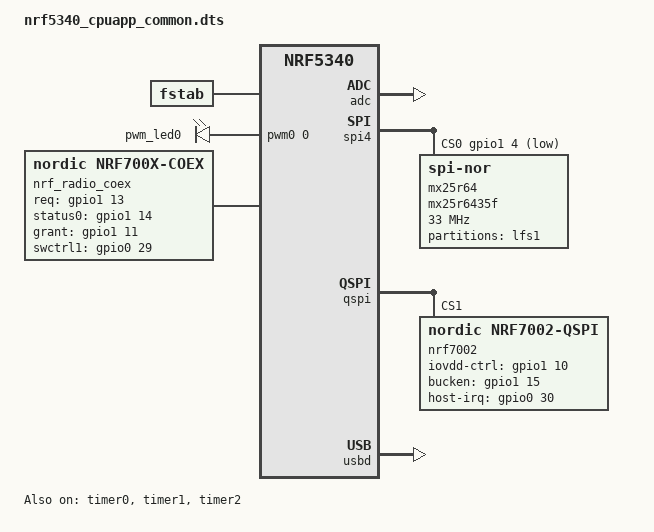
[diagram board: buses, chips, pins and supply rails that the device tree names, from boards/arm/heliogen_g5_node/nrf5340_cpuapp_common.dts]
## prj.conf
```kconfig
CONFIG_IPC_SERVICE=y
CONFIG_IPC_SERVICE_BACKEND_ICMSG=y
CONFIG_MBOX=y
CONFIG_MBOX_NRFX_IPC=y

CONFIG_LOG=y
CONFIG_USE_SEGGER_RTT=y
CONFIG_LOG_BACKEND_RTT=y
CONFIG_RTT_CONSOLE=y

CONFIG_ESB=y

CONFIG_MAIN_STACK_SIZE=2048
CONFIG_SYSTEM_WORKQUEUE_STACK_SIZE=2048

CONFIG_HEAP_MEM_POOL_SIZE=2048

# # Enable Partition Manager + flash map when this application is built as a
# # CPUNET child image in the multi-image (MCUboot) build.
# CONFIG_PARTITION_MANAGER_ENABLED=y
CONFIG_FLASH=y
CONFIG_FLASH_MAP=y

CONFIG_SECURE_BOOT=y
# CONFIG_PCD_NET=y
```

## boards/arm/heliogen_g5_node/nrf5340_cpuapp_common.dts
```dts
/*
 * Copyright (c) 2022 Nordic Semiconductor ASA
 *
 * SPDX-License-Identifier: LicenseRef-Nordic-5-Clause
 */
#include "nrf5340_cpuapp_common-pinctrl.dtsi"

/ {
	fstab {
		compatible = "zephyr,fstab";
		lfs1: lfs1 {
			compatible = "zephyr,fstab,littlefs";
			mount-point = "/lfs1";
			partition = <&lfs1_part>;
			automount;
			read-size = <16>;
			prog-size = <16>;
			cache-size = <64>;
			lookahead-size = <32>;
			block-cycles = <512>;
		};
	};

	chosen {
		zephyr,bt-hci-ipc = &ipc0;
	};
	
	/* 
	chosen {
		zephyr,console = &cdc_acm_uart0;
		zephyr,shell-uart = &cdc_acm_uart0;
		zephyr,uart-mcumgr = &cdc_acm_uart0;
		zephyr,bt-mon-uart = &cdc_acm_uart0;
		zephyr,bt-c2h-uart = &cdc_acm_uart0;
		zephyr,bt-hci-rpmsg-ipc = &ipc0;
	};
	*/
	/*
	leds {
		compatible = "gpio-leds";
		led0: led_0 {
			gpios = <&gpio1 6 GPIO_ACTIVE_HIGH>;
			label = "Green LED 0";
		};
		led1: led_1 {
			gpios = <&gpio1 7 GPIO_ACTIVE_HIGH>;
			label = "Green LED 1";
		};
	};
	*/
	pwmleds {
		compatible = "pwm-leds";
		pwm_led0: pwm_led_0 {
			pwms = <&pwm0 0 PWM_MSEC(20) PWM_POLARITY_NORMAL>;
		};
	};
	/*
	buttons {
		compatible = "gpio-keys";
		button0: button_0 {
			gpios = <&gpio1 8 (GPIO_PULL_UP | GPIO_ACTIVE_LOW)>;
			label = "Push button 1";
		};
		button1: button_1 {
			gpios = <&gpio1 9 (GPIO_PULL_UP | GPIO_ACTIVE_LOW)>;
			label = "Push button 2";
		};
	};
	*/
	/*
	gpio_fwd: nrf-gpio-forwarder {
		compatible = "nordic,nrf-gpio-forwarder";
		status = "okay";
		uart {
			gpios = <&gpio1 1 0>, <&gpio1 0 0>, <&gpio1 5 0>, <&gpio1 4 0>;
		};
	};
	*/

	nordic_wlan0: nordic_wlan0 {
		compatible = "nordic,wlan0";
		status = "okay";
	};
	
	nrf_radio_coex: nrf7002-coex {
		status = "okay";
		compatible = "nordic,nrf700x-coex";
		req-gpios = <&gpio1 13 GPIO_ACTIVE_HIGH>;
		status0-gpios = <&gpio1 14 GPIO_ACTIVE_HIGH>;
		grant-gpios = <&gpio1 11 GPIO_ACTIVE_HIGH>;
		swctrl1-gpios = <&gpio0 29 GPIO_ACTIVE_HIGH>;
	};

	/* These aliases are provided for compatibility with samples */
	aliases {
		led0 = &led0;
		pwm-led0 = &pwm_led0;
		bootloader-led0 = &led0;
		mcuboot-led0 = &led0;
	};
};

&adc {
	status = "okay";
};

&gpiote {
	status = "okay";
};

&gpio0 {
	status = "okay";
};

&gpio1 {
	status = "okay";
};

&spi4 {
	compatible = "nordic,nrf-spim";
	status = "okay";
	pinctrl-0 = <&spi4_default>;
	pinctrl-1 = <&spi4_sleep>;
	pinctrl-names = "default", "sleep";
	cs-gpios = <&gpio1 4 GPIO_ACTIVE_LOW>;

	mx25r64: mx25r6435f@0 {
		compatible = "jedec,spi-nor";
		reg = <0>;
		spi-max-frequency = <33000000>;
		jedec-id = [c2 28 17];
		sfdp-bfp = [
			e5 20 f1 ff ff ff ff 03 44 eb 08 6b 08 3b 04 bb
			ee ff ff ff ff ff 00 ff ff ff 00 ff 0c 20 0f 52
			10 d8 00 ff 23 72 f5 00 82 ed 04 cc 44 83 68 44
			30 b0 30 b0 f7 c4 d5 5c 00 be 29 ff f0 d0 ff ff
		];
		size = <67108864>;
		has-dpd;
		t-enter-dpd = <10000>;
		t-exit-dpd = <5000>;

		partitions{
			compatible = "fixed-partitions";
			#address-cells = <1>;
			#size-cells = <1>;
			lfs1_part: partition@0 {
				label = "lfs1";
				reg = <0x00000000 0x00040000>;
			};
		};

	};
};

&qspi {
	status = "okay";

	pinctrl-0 = <&qspi_default>;
	pinctrl-1 = <&qspi_sleep>;
	pinctrl-names = "default", "sleep";
	nrf7002: nrf7002@1 {
		status = "okay";
		compatible = "nordic,nrf7002-qspi";
		reg = <1>;
		sck-frequency = <24000000>;
		quad-mode;
		/* Wi-Fi Pins used */
		iovdd-ctrl-gpios = <&gpio1 10 GPIO_ACTIVE_HIGH>;
		bucken-gpios = <&gpio1 15 GPIO_ACTIVE_HIGH>;
		host-irq-gpios = <&gpio0 30 GPIO_ACTIVE_HIGH>;

	};
};

&timer0 {
	status = "okay";
};

&timer1 {
	status = "okay";
};

&timer2 {
	status = "okay";
};


&flash0 {

	partitions {
		compatible = "fixed-partitions";
		#address-cells = <1>;
		#size-cells = <1>;

		boot_partition: partition@0 {
			label = "mcuboot";
			reg = <0x00000000 0x00010000>;
		};
		slot0_partition: partition@10000 {
			label = "image-0";
		};
		slot0_ns_partition: partition@50000 {
			label = "image-0-nonsecure";
		};
		slot1_partition: partition@80000 {
			label = "image-1";
		};
		slot1_ns_partition: partition@c0000 {
			label = "image-1-nonsecure";
		};
		scratch_partition: partition@f0000 {
			label = "image-scratch";
			reg = <0x000f0000 0xa000>;
		};
		storage_partition: partition@fa000 {
			label = "storage";
			reg = <0x000fa000 0x00006000>;
		};
	};
};

zephyr_udc0: &usbd {
	compatible = "nordic,nrf-usbd";
	status = "okay";
};

/ {

	reserved-memory {
		#address-cells = <1>;
		#size-cells = <1>;
		ranges;

		sram0_image: image@20000000 {
			/* Zephyr image(s) memory */
		};

		sram0_s: image_s@20000000 {
			/* Secure image memory */
		};

		sram0_ns: image_ns@20040000 {
			/* Non-Secure image memory */
		};
	};
};

/*
 * Extra IPC channel for custom APP<->NET communication (ICMsg backend).
 *
 * This instance is independent of the default OpenAMP/static-vrings instance
 * (ipc0) that is commonly used for Bluetooth HCI IPC / nRF RPC.
 *
 * We use MBOX channels 2/3 (0/1 are typically used by the default OpenAMP
 * instance).
 */
/ {
	ipc_icmsg0: ipc_icmsg0 {
		compatible = "zephyr,ipc-icmsg";
		tx-region = <&sram0_icmsg_tx>;
		rx-region = <&sram0_icmsg_rx>;
		mboxes = <&mbox 2>, <&mbox 3>;
		mbox-names = "tx", "rx";
		status = "okay";
	};
};

/* Include partition configuration file */
#include "nrf5340_cpuapp_partition_conf.dts"
```

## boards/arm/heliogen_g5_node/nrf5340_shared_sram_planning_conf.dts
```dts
/*
 * Copyright (c) 2022 Nordic Semiconductor ASA
 *
 * SPDX-License-Identifier: LicenseRef-Nordic-5-Clause
 */

/* Default shared SRAM planning when building for nRF5340.
 * This file is included by both nRF5340 CPUAPP (Application MCU)
 * and nRF5340 CPUNET (Network MCU).
 * - 64 kB SRAM allocated as Shared memory (sram0_shared)
 * - Region defined after the image SRAM of Application MCU
 */

/ {
	chosen {
		/* shared memory reserved for the inter-processor communication */
		zephyr,ipc_shm = &sram0_shared;
	};

	reserved-memory {
		#address-cells = <1>;
		#size-cells = <1>;
		ranges;

		/*
		 * nRF5340 shared SRAM planning
		 *
		 * 0x20070000..0x2007FFFF is the CPUAPP SRAM window that is accessible by
		 * both cores.
		 *
		 * The stock Zephyr/NCS configuration typically uses the whole 64 KiB as a
		 * single shared region (sram0_shared) for OpenAMP/static-vrings and
		 * Bluetooth HCI IPC.
		 *
		 * For custom inter-core messaging (ICMsg backend) we carve out a small
		 * slice at the *top* of the shared SRAM window and leave the remainder as
		 * sram0_shared so existing OpenAMP users can still work (as long as the
		 * reduced size is sufficient for their configuration).
		 */
		sram0_shared: memory@20070000 {
			/* SRAM allocated to shared memory for OpenAMP/static-vrings */
			// reg = <0x20070000 0x0E000>; /* 56 KiB */
			reg = <0x20070000 0x0E800>; /* 58 KiB */
		};

		// /* Dedicated shared SRAM regions for ICMsg (2 x 4 KiB) */
		// sram0_icmsg_tx: memory@2007e000 {
		// 	reg = <0x2007E000 0x1000>;
		// };
		// sram0_icmsg_rx: memory@2007f000 {
		// 	reg = <0x2007F000 0x1000>;
		// };

		/* Dedicated shared SRAM regions for ICMsg (2 x 3 KiB) */
		sram0_icmsg_tx: memory@2007e000 {
			reg = <0x2007E000 0xC00>;
		};
		sram0_icmsg_rx: memory@2007f000 {
			reg = <0x2007F000 0xC00>;
		};
};
```

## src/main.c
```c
/*
 * Copyright (c) 2025 Nordic Semiconductor ASA
 *
 * SPDX-License-Identifier: LicenseRef-Nordic-5-Clause
 */

 /*
 * CLUSTER HEAD NET CORE FIRMWARE
 * Date: 03-08-2026
 */

#include <zephyr/kernel.h>
#include <zephyr/device.h>
#include <zephyr/devicetree.h>
#include <zephyr/drivers/clock_control.h>
#include <zephyr/drivers/clock_control/nrf_clock_control.h>
#include <zephyr/logging/log.h>
#include <zephyr/ipc/ipc_service.h>
#include <nrf.h>
#include <esb.h>

// LOG_MODULE_REGISTER(esb_netcore, LOG_LEVEL_INF); 
LOG_MODULE_REGISTER(esb_netcore, LOG_LEVEL_NONE);

/* IPC Message Types */
#define ESB_IPC_MSG_TYPE_TX      0x01
#define ESB_IPC_MSG_TYPE_RX      0x02
#define ESB_IPC_MSG_TYPE_STATUS  0x03
#define ESB_IPC_MSG_TYPE_NODE_ID 0x03 /* Match APP core type */

/* Message queue to pass RX data from ISR to work queue */
#define RX_MSGQ_MAX_ITEMS 4
K_MSGQ_DEFINE(esb_rx_msgq, sizeof(struct esb_payload), RX_MSGQ_MAX_ITEMS, 4);

/* User work queue for IPC communication (runs in proper thread context) */
#define IPC_WORK_QUEUE_STACK_SIZE 2048
#define IPC_WORK_QUEUE_PRIORITY 5

#define CHANNEL_CH_A_3 3
#define CHANNEL_CH_B_7 7
#define CHANNEL_CH_C_9 9
#define CHANNEL_CH_D_72 72
#define CHANNEL_CH_E_77 77

K_THREAD_STACK_DEFINE(ipc_work_queue_stack, IPC_WORK_QUEUE_STACK_SIZE);
static struct k_work_q ipc_work_queue;
static struct k_work esb_rx_work;

/* ESB IPC Message structure */
struct esb_ipc_msg {
	uint8_t type;
	uint8_t length;
	uint8_t data[32];
} __packed;

/* IPC instance */
static struct ipc_ept ep;
static struct ipc_ept_cfg ep_cfg;

/* Synchronization */
static K_SEM_DEFINE(ipc_bound_sem, 0, 1);

/* Store Received Node ID */
static char remote_node_id[33];
static K_SEM_DEFINE(node_id_sem, 0, 1);

/* ESB state */
static struct esb_payload tx_payload;
static struct esb_payload rx_payload;

/* Forward declarations */
static int esb_radio_init(void);
static int clocks_start(void);

/* Work handler for ESB RX data to be sent via IPC */
static void esb_rx_work_handler(struct k_work *work)
{
	struct esb_payload rx_data;
	struct esb_ipc_msg ipc_msg;

	while (k_msgq_get(&esb_rx_msgq, &rx_data, K_NO_WAIT) == 0) {
		LOG_INF("ESB RX: Received %d bytes on pipe %d: "
			"0x%02x 0x%02x 0x%02x 0x%02x "
			"0x%02x 0x%02x 0x%02x 0x%02x",
			rx_data.length, rx_data.pipe,
			rx_data.data[0], rx_data.data[1],
			rx_data.data[2], rx_data.data[3],
			rx_data.data[4], rx_data.data[5],
			rx_data.data[6], rx_data.data[7]);

		/* Send to app core via IPC */
		ipc_msg.type = ESB_IPC_MSG_TYPE_RX;
		ipc_msg.length = rx_data.length;
		memcpy(ipc_msg.data, rx_data.data, rx_data.length);

		LOG_INF("IPC MSG: type=0x%02x, len=%d", ipc_msg.type, ipc_msg.length);

		int ret = ipc_service_send(&ep, &ipc_msg,
					   sizeof(ipc_msg.type) +
					   sizeof(ipc_msg.length) +
					   rx_data.length);
		if (ret < 0) {
			LOG_ERR("Failed to send RX data via IPC: %d", ret);
		}
	}
}

/* ESB Event Handler */
void esb_evt_handler(struct esb_evt const *event)
{
	switch (event->evt_id) {
	case ESB_EVENT_TX_SUCCESS:
		LOG_INF("ESB TX SUCCESS: Broadcast finished");
		/* Flush RX FIFO before starting RX to remove any stale packets */
		esb_flush_rx();
		/* Switch to PRX mode to listen for responses from field nodes */
		esb_start_rx();
		break;

	case ESB_EVENT_TX_FAILED:
		LOG_ERR("ESB TX FAILED: Retrying/Opening RX anyway...");
		esb_flush_rx();
		/* Open RX window anyway so we don't miss anything */
		esb_start_rx();
		break;

	case ESB_EVENT_RX_RECEIVED:
		LOG_INF("ESB RX: Packet received on radio");
		/* Read received payload */
		if (esb_read_rx_payload(&rx_payload) == 0) {
			/* Queue for processing and submit to user work queue */
			int ret = k_msgq_put(&esb_rx_msgq, &rx_payload, K_NO_WAIT);
			if (ret < 0) {
				LOG_ERR("RX queue full, dropping packet");
			} else {
				/* Submit to user work queue (not system queue) */
				k_work_submit_to_queue(&ipc_work_queue, &esb_rx_work);
			}
		} else {
				LOG_ERR("Error reading ESB RX payload");
		}
		break;

	default:
		LOG_WRN("Unknown ESB event: %d", event->evt_id);
		break;
	}
}

/* IPC Endpoint Bound Callback */
static void ep_bound(void *priv)
{
	LOG_INF("IPC endpoint bound");
	k_sem_give(&ipc_bound_sem);
}

/* IPC Endpoint Receive Callback */
static void ep_recv(const void *data, size_t len, void *priv)
{
	const struct esb_ipc_msg *msg = (const struct esb_ipc_msg *)data;

	LOG_INF("IPC RX FROM APP: type=0x%02x, len=%d", msg->type, msg->length);

	/* Handle TX command */
	if (msg->type == ESB_IPC_MSG_TYPE_TX) {
		/* Stop RX if currently in the middle of a previous window */
		esb_stop_rx();
		/* Important: Clear any pending RX data in the queue */
		struct esb_payload junk;
		while (k_msgq_get(&esb_rx_msgq, &junk, K_NO_WAIT) == 0);

		/* Prepare ESB payload for Broadcast transmission */
		uint8_t first_byte = msg->data[0];
		/* Logic check: if first byte is 0x91, change it to 0x92 */
		if (first_byte == 0x91) {
			first_byte = 0x92;
		}

		tx_payload = (struct esb_payload)ESB_CREATE_PAYLOAD(0, first_byte);
		tx_payload.length = msg->length;
		
		/* Copy remaining data from the IPC message */
		if (msg->length > 1) {
			memcpy(&tx_payload.data[1], &msg->data[1], msg->length - 1);
		}
		tx_payload.noack = true;

		/* Flush any old TX data and write new payload */
		esb_flush_tx();
		int ret = esb_write_payload(&tx_payload);
		if (ret) {
			LOG_ERR("ESB write_payload failed: %d", ret);
		} else {
			LOG_INF("ESB: write_payload OK, waiting for TX_SUCCESS event...");
		}
	// } else if (msg->type == ESB_IPC_MSG_TYPE_STATUS) {
	// 	/* App Core signals to stop listening (e.g. 800ms window closed) */
	// 	LOG_INF("IPC: Stop RX command received");
	// 	esb_stop_rx();
	} 
	else if (msg->type == ESB_IPC_MSG_TYPE_NODE_ID) {
		uint8_t copy_len = msg->length > 32 ? 32 : msg->length;
		memcpy(remote_node_id, msg->data, copy_len);
		remote_node_id[copy_len] = '\0';
		LOG_INF("NET Core received Node ID from APP: %s", remote_node_id);
		k_sem_give(&node_id_sem);
	}
}

/* IPC Initialization */
static int ipc_init(void)
{
	int ret;
	const struct device *ipc_instance;

	LOG_INF("Initializing IPC...");

	/* Get IPC instance */
	ipc_instance = DEVICE_DT_GET(DT_NODELABEL(ipc_icmsg0));
	if (!device_is_ready(ipc_instance)) {
		LOG_ERR("IPC instance not ready");
		return -ENODEV;
	}

	/* Configure endpoint */
	ep_cfg.name = "esb_ep";
	ep_cfg.cb.bound = ep_bound;
	ep_cfg.cb.received = ep_recv;
	ep_cfg.priv = NULL;

	/* Register endpoint */
	ret = ipc_service_open_instance(ipc_instance);
	if (ret < 0 && ret != -EALREADY) {
		LOG_ERR("Failed to open IPC instance: %d", ret);
		return ret;
	}

	ret = ipc_service_register_endpoint(ipc_instance, &ep, &ep_cfg);
	if (ret < 0) {
		LOG_ERR("Failed to register IPC endpoint: %d", ret);
		return ret;
	}

	/* Initialize user work queue for IPC communication */
	k_work_queue_start(&ipc_work_queue,
			   ipc_work_queue_stack,
			   K_THREAD_STACK_SIZEOF(ipc_work_queue_stack),
			   IPC_WORK_QUEUE_PRIORITY,
			   NULL);
	k_thread_name_set(&ipc_work_queue.thread, "ipc_wq");
	
	/* Initialize work item */
	k_work_init(&esb_rx_work, esb_rx_work_handler);

	/* Wait for endpoint to be bound */
	ret = k_sem_take(&ipc_bound_sem, K_SECONDS(5));
	if (ret < 0) {
		LOG_ERR("IPC endpoint binding timeout");
		return ret;
	}

	LOG_INF("IPC initialized successfully, waiting for Node ID...");
	
	/* Wait for Node ID from App Core */
	ret = k_sem_take(&node_id_sem, K_SECONDS(2));
	if (ret < 0) {
		LOG_WRN("Timeout waiting for Node ID, proceeding with default");
	}

	return 0;
}

/* Start HF Clock */
static int clocks_start(void)
{
	int err;
	int res;
	struct onoff_manager *clk_mgr;
	struct onoff_client clk_cli;

	clk_mgr = z_nrf_clock_control_get_onoff(CLOCK_CONTROL_NRF_SUBSYS_HF);
	if (!clk_mgr) {
		LOG_ERR("Unable to get the Clock manager");
		return -ENXIO;
	}

	sys_notify_init_spinwait(&clk_cli.notify);

	err = onoff_request(clk_mgr, &clk_cli);
	if (err < 0) {
		LOG_ERR("Clock request failed: %d", err);
		return err;
	}

	do {
		err = sys_notify_fetch_result(&clk_cli.notify, &res);
		if (!err && res) {
			LOG_ERR("Clock could not be started: %d", res);
			return res;
		}
	} while (err);

	LOG_DBG("HF clock started");
	return 0;
}

/* Initialize ESB Radio */
static int esb_radio_init(void)
{
	int err;

	/* ESB addresses - must match PTX/PRX counterpart */
	uint8_t base_addr_0[4] = {0xE7, 0xE7, 0xE7, 0xE7};
	uint8_t base_addr_1[4] = {0xC2, 0xC2, 0xC2, 0xC2};
	uint8_t addr_prefix[8] = {0xE7, 0xC2, 0xC3, 0xC4, 0xC5, 0xC6, 0xC7, 0xC8};
	// uint8_t addr_prefix[8] = {0xE7, 0xC2, 0xC3, 0x00, 0x00, 0x00, 0x00, 0x00};

	struct esb_config config = ESB_DEFAULT_CONFIG;

	/* Configure ESB as PTX (Primary Transmitter) */
	config.protocol = ESB_PROTOCOL_ESB_DPL;
	// config.bitrate = ESB_BITRATE_2MBPS;
	config.bitrate = ESB_BITRATE_1MBPS;
	config.mode = ESB_MODE_PTX;  /* Default PTX mode */
	config.event_handler = esb_evt_handler;
	config.selective_auto_ack = true;
	config.retransmit_delay = 250; 
	config.retransmit_count = 0;   /* No retransmissions */

	err = esb_init(&config);
	if (err) {
		LOG_ERR("ESB init failed: %d", err);
		return err;
	}

	err = esb_set_rf_channel(CHANNEL_CH_B_7);
	if (err) {
		LOG_ERR("ESB set RF channel failed: %d", err);
		return err;
	}

	err = esb_set_base_address_0(base_addr_0);
	if (err) {
		LOG_ERR("ESB set base address 0 failed: %d", err);
		return err;
	}

	err = esb_set_base_address_1(base_addr_1);
	if (err) {
		LOG_ERR("ESB set base address 1 failed: %d", err);
		return err;
	}

	err = esb_set_prefixes(addr_prefix, ARRAY_SIZE(addr_prefix));
	if (err) {
		LOG_ERR("ESB set prefixes failed: %d", err);
		return err;
	}

	LOG_INF("ESB initialized successfully (PTX mode, 2.4GHz, 2Mbps)");
	return 0;
}

int main(void)
{
	int err;

	LOG_INF("===========================================");
	LOG_INF("ESB Radio Modem - Network Core");
	LOG_INF("2.4GHz ESB on nRF5340 Internal Radio");
	// LOG_INF("BEFORE FOTA");
	LOG_INF("===========================================");

	/* Start HF clock */
	err = clocks_start();
	if (err) {
		LOG_ERR("Failed to start clocks");
		return err;
	}

	/* Initialize IPC */
	err = ipc_init();
	if (err) {
		LOG_ERR("IPC initialization failed");
		return err;
	}

		/* Verify Node ID before proceeding */
	if (remote_node_id[0] != '\0') {
		LOG_INF("Verified Node ID: %s. Proceeding to ESB init.", remote_node_id);
	} else {
		LOG_WRN("Proceeding to ESB init without Node ID (using default/empty)");
	}

	/* Initialize ESB */
	err = esb_radio_init();
	if (err) {
		LOG_ERR("ESB initialization failed");
		return err;
	}

	/* Device starts idle in PTX mode - no call to esb_start_rx() here */

	LOG_INF("ESB Radio Modem ready - PTX Mode (Default Idle)");
	LOG_INF("Waiting for IPC commands from App Core...");

	/* Return to idle thread - ESB events handled via callbacks */
	return 0;
}
```

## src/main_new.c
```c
/*
 * Copyright (c) 2018 Nordic Semiconductor ASA
 *
 * SPDX-License-Identifier: LicenseRef-Nordic-5-Clause
 */
#include <zephyr/device.h>
#include <zephyr/devicetree.h>
#include <zephyr/drivers/clock_control.h>
#include <zephyr/drivers/clock_control/nrf_clock_control.h>
#include <zephyr/irq.h>
#include <zephyr/logging/log.h>
#include <zephyr/ipc/ipc_service.h>
#include <nrf.h>
#include <esb.h>
#include <zephyr/kernel.h>
#include <zephyr/types.h>
#include <zephyr/sys/atomic.h>
#include <zephyr/random/rand32.h>

LOG_MODULE_REGISTER(esb_netcore, LOG_LEVEL_INF);

/* IPC Message Types */
#define ESB_IPC_MSG_TYPE_TX      0x01
#define ESB_IPC_MSG_TYPE_RX      0x02
#define ESB_IPC_MSG_TYPE_STATUS  0x03

/* Message queue to pass RX data from ISR to work queue */
#define RX_MSGQ_MAX_ITEMS 4
K_MSGQ_DEFINE(esb_rx_msgq, sizeof(struct esb_payload), RX_MSGQ_MAX_ITEMS, 4);

/* User work queue for IPC communication (runs in proper thread context) */
#define IPC_WORK_QUEUE_STACK_SIZE 2048
#define IPC_WORK_QUEUE_PRIORITY 5

/* Device Identifier */
#define DEVICE_ID 0x14

K_THREAD_STACK_DEFINE(ipc_work_queue_stack, IPC_WORK_QUEUE_STACK_SIZE);
static struct k_work_q ipc_work_queue;
static struct k_work esb_rx_work;

/* ESB IPC Message structure */
struct esb_ipc_msg {
	uint8_t type;
	uint8_t length;
	uint8_t data[32];
} __packed;

/* IPC instance */
static struct ipc_ept ep;
static struct ipc_ept_cfg ep_cfg;

/* Synchronization */
static K_SEM_DEFINE(ipc_bound_sem, 0, 1);

/* ------------------------------------------------------------------ */
/*  Flags shared between ISR (event_handler) and main thread           */
/* ------------------------------------------------------------------ */
static atomic_t do_switch_to_ptx = ATOMIC_INIT(0); /* set by RX handler        */
static atomic_t do_switch_to_prx = ATOMIC_INIT(0); /* set by TX_SUCCESS handler */
static atomic_t do_retry_ptx     = ATOMIC_INIT(0); /* set by TX_FAILED handler  */

/* Tracks whether we have already done one backoff-retry for the current
 * PTX transmission. Reset on TX_SUCCESS or after giving up. */
static bool tx_retried;

/* ------------------------------------------------------------------ */
/*  PTX configuration — defaults, updated live if 0x33 found in RX    */
/* ------------------------------------------------------------------ */
static uint16_t ptx_retransmit_delay = 600;  /* us between retries   */
static uint16_t ptx_retransmit_count = 3;    /* max retry attempts   */
static int8_t   ptx_tx_output_power  = 3;    /* dBm                  */

/* Payload buffers */
static struct esb_payload rx_payload;

/* TX payload: first byte = 0x93 */
static struct esb_payload tx_payload = ESB_CREATE_PAYLOAD(0,
	0x93, 0x00, 0x00, 0x00, 0x00, 0x00, 0x00, 0x00);
/* Work handler for ESB RX data to be sent via IPC */
static void esb_rx_work_handler(struct k_work *work)
{
	struct esb_payload rx_data;
	struct esb_ipc_msg ipc_msg;

	while (k_msgq_get(&esb_rx_msgq, &rx_data, K_NO_WAIT) == 0) {
		LOG_INF("ESB RX: Received %d bytes: "
			"0x%02x 0x%02x 0x%02x 0x%02x "
			"0x%02x 0x%02x 0x%02x 0x%02x",
			rx_data.length,
			rx_data.data[0], rx_data.data[1],
			rx_data.data[2], rx_data.data[3],
			rx_data.data[4], rx_data.data[5],
			rx_data.data[6], rx_data.data[7]);

		/* Send to app core via IPC */
		ipc_msg.type = ESB_IPC_MSG_TYPE_RX;
		ipc_msg.length = rx_data.length;
		memcpy(ipc_msg.data, rx_data.data, rx_data.length);

		int ret = ipc_service_send(&ep, &ipc_msg,
					   sizeof(ipc_msg.type) +
					   sizeof(ipc_msg.length) +
					   rx_data.length);
		if (ret < 0) {
			LOG_ERR("Failed to send RX data via IPC: %d", ret);
		}
	}
}

/* IPC Endpoint Bound Callback */
static void ep_bound(void *priv)
{
	LOG_INF("IPC endpoint bound");
	k_sem_give(&ipc_bound_sem);
}


/* ------------------------------------------------------------------ */
/*  ESB event handler  (runs in radio IRQ context)                     */
/* ------------------------------------------------------------------ */
void event_handler(struct esb_evt const *event)
{
	switch (event->evt_id) {

	case ESB_EVENT_RX_RECEIVED:
		if (esb_read_rx_payload(&rx_payload) == 0) {
			LOG_INF("RX: len=%d [0x%02x 0x%02x 0x%02x 0x%02x 0x%02x 0x%02x 0x%02x 0x%02x]",
				rx_payload.length,
				rx_payload.data[0], rx_payload.data[1],
				rx_payload.data[2], rx_payload.data[3],
				rx_payload.data[4], rx_payload.data[5],
				rx_payload.data[6], rx_payload.data[7]);

			/* If first byte is 0x92 -> request a PTX switch */
			if (rx_payload.data[0] == 0x92) {
				LOG_INF("Trigger byte 0x92 received -> scheduling PTX switch");
				/* Mirror the received second byte in our response */
				tx_payload.data[1] = rx_payload.data[1]; // response to packet request
				tx_payload.data[2] = DEVICE_ID;          // identify this device in the response
				atomic_set(&do_switch_to_ptx, 1);
			}

			/* Scan every byte for 0x33 -> update PTX config */
			for (int i = 0; i < rx_payload.length; i++) {
				if (rx_payload.data[i] == 0x33) {
					LOG_INF("0x33 found at byte[%d] -> updating PTX config: "
						"retransmit_delay=1000, retransmit_count=5, "
						"tx_output_power=0", i);
					ptx_retransmit_delay = 1000;
					ptx_retransmit_count = 5;
					ptx_tx_output_power  = 0;
					break;
				}
			}
		} else {
			LOG_ERR("Error reading rx payload");
		}
		break;

	case ESB_EVENT_TX_SUCCESS:
		LOG_INF("TX SUCCESS (attempts: %d) -> scheduling PRX switch",
			event->tx_attempts);
		tx_retried = false; /* reset for next PTX cycle */
		atomic_set(&do_switch_to_prx, 1);
		break;

	case ESB_EVENT_TX_FAILED:
		if (!tx_retried) {
			/* First failure: log the config we failed with, then apply
			 * backoff and schedule a retry with the new config. */
			LOG_WRN("TX FAILED (attempts: %d) with delay=%u count=%u pwr=%d"
				" -> applying backoff and retrying",
				event->tx_attempts,
				ptx_retransmit_delay, ptx_retransmit_count,
				ptx_tx_output_power);
			// ptx_retransmit_delay += (uint16_t)(sys_rand32_get() % 501); // Ring 1
			// ptx_retransmit_delay += (uint16_t)(500 + sys_rand32_get() % 501); // Ring 2
			// ptx_retransmit_delay += (uint16_t)(1000 + sys_rand32_get() % 501); // Ring 3
			/* NOTE: sys_rand32_get() uses a semaphore and is ISR-unsafe.
			 * The actual delay update happens in the main thread below. */
			ptx_retransmit_count += 5;
			ptx_tx_output_power   = 3;
			tx_retried = true;
			atomic_set(&do_retry_ptx, 1);
		} else {
			/* Second consecutive failure even after backoff -> give up,
			 * switch back to PRX. */
			LOG_WRN("TX FAILED again after backoff (attempts: %d) "
				"-> switching to PRX", event->tx_attempts);
			tx_retried = false; /* reset for next PTX cycle */
			atomic_set(&do_switch_to_prx, 1);
		}
		break;
	}
}

/* ------------------------------------------------------------------ */
/*  Clock                                                               */
/* ------------------------------------------------------------------ */
static int clocks_start(void)
{
	int err, res;
	struct onoff_manager *clk_mgr;
	struct onoff_client clk_cli;

	clk_mgr = z_nrf_clock_control_get_onoff(CLOCK_CONTROL_NRF_SUBSYS_HF);
	if (!clk_mgr) {
		LOG_ERR("Unable to get the Clock manager");
		return -ENXIO;
	}

	sys_notify_init_spinwait(&clk_cli.notify);

	err = onoff_request(clk_mgr, &clk_cli);
	if (err < 0) {
		LOG_ERR("Clock request failed: %d", err);
		return err;
	}

	do {
		err = sys_notify_fetch_result(&clk_cli.notify, &res);
		if (!err && res) {
			LOG_ERR("Clock could not be started: %d", res);
			return res;
		}
	} while (err);

	LOG_DBG("HF clock started");
	return 0;
}

/* ------------------------------------------------------------------ */
/*  ESB initializers                                                    */
/* ------------------------------------------------------------------ */
static const uint8_t base_addr_0[4]  = {0xE7, 0xE7, 0xE7, 0xE7};
static const uint8_t base_addr_1[4]  = {0xC2, 0xC2, 0xC2, 0xC2};
static const uint8_t addr_prefix[8]  = {0xE6, 0xC2, 0xC3, 0xC4,
					 0xC5, 0xC6, 0xC7, 0xC8};

static int esb_prx_initialize(void)
{
	int err;
	struct esb_config config = ESB_DEFAULT_CONFIG;

	config.protocol          = ESB_PROTOCOL_ESB_DPL;
	config.bitrate           = ESB_BITRATE_2MBPS;
	config.mode              = ESB_MODE_PRX;
	config.event_handler     = event_handler;
	config.selective_auto_ack = true;

	err = esb_init(&config);                              if (err) return err;
	err = esb_set_base_address_0(base_addr_0);            if (err) return err;
	err = esb_set_base_address_1(base_addr_1);            if (err) return err;
	err = esb_set_prefixes(addr_prefix, ARRAY_SIZE(addr_prefix));
	return err;
}

static int esb_ptx_initialize(void)
{
	int err;
	struct esb_config config = ESB_DEFAULT_CONFIG;

	config.protocol           = ESB_PROTOCOL_ESB_DPL;
	config.bitrate            = ESB_BITRATE_2MBPS;
	config.mode               = ESB_MODE_PTX;
	config.event_handler      = event_handler;
	config.selective_auto_ack = true;
	config.retransmit_delay   = ptx_retransmit_delay;
	config.retransmit_count   = ptx_retransmit_count;
	config.tx_output_power    = ptx_tx_output_power;

	err = esb_init(&config);                              if (err) return err;
	err = esb_set_base_address_0(base_addr_0);            if (err) return err;
	err = esb_set_base_address_1(base_addr_1);            if (err) return err;
	err = esb_set_prefixes(addr_prefix, ARRAY_SIZE(addr_prefix));
	return err;
}

/* ------------------------------------------------------------------ */
/*  Role-switch helpers  (call only from main thread, NOT from ISR)    */
/* ------------------------------------------------------------------ */
static int enter_prx(void)
{
	int err;
	uint32_t t0 = k_cycle_get_32();

	/* Cleanly stop the radio before disabling ESB.
	 * esb_disable() alone does NOT stop the radio hardware — it only
	 * disables PPI and IRQs, leaving the radio peripheral running.
	 * esb_stop_rx() issues TASKS_DISABLE and waits for the radio to halt.
	 */
	(void)esb_stop_rx(); /* ignore -EINVAL if not currently in RX state */
	esb_disable();

	err = esb_prx_initialize();
	if (err) { LOG_ERR("PRX init failed: %d", err); return err; }

	err = esb_start_rx();
	if (err) { LOG_ERR("esb_start_rx failed: %d", err); return err; }

	uint32_t us = k_cyc_to_us_near32(k_cycle_get_32() - t0);
	LOG_INF("[TIMING] PRX active: %u us after switch command", us);
	return 0;
}

static int enter_ptx(void)
{
	int err;
	uint32_t t0 = k_cycle_get_32();

	/* Cleanly stop the radio before disabling ESB.
	 * After a PRX receives a packet, the radio continues cycling
	 * (RX -> ACK-TX -> RX) autonomously via hardware SHORTs.
	 * esb_disable() alone does NOT stop this — the radio peripheral
	 * keeps running without an ISR. When esb_ptx_initialize() then
	 * starts the TX state machine, the radio is in an unknown state
	 * and the TX event never fires.
	 * esb_stop_rx() issues TASKS_DISABLE and waits for the radio to halt.
	 */
	(void)esb_stop_rx(); /* ignore -EINVAL if not currently in RX state */
	esb_disable();

	err = esb_ptx_initialize();
	if (err) { LOG_ERR("PTX init failed: %d", err); return err; }

	/* esb_write_payload() in PTX mode auto-starts TX — do NOT call esb_start_tx() */
	err = esb_write_payload(&tx_payload);
	if (err) {
		LOG_ERR("Payload write failed: %d", err);
		if (err == -ENOMEM) { esb_flush_tx(); }
		return err;
	}

	uint32_t us = k_cyc_to_us_near32(k_cycle_get_32() - t0);
	LOG_INF("[TIMING] PTX active + packet queued: %u us after switch command", us);
	return 0;
}

/* ------------------------------------------------------------------ */
/*  Main                                                                */
/* ------------------------------------------------------------------ */
int main(void)
{
	int err;

	LOG_INF("ESB configurable sample - default role: PRX");

	err = clocks_start();
	if (err) { return 0; }

	/* Start in PRX (default) */
	err = esb_prx_initialize();
	if (err) { LOG_ERR("ESB PRX init failed: %d", err); return 0; }

	err = esb_start_rx();
	if (err) { LOG_ERR("esb_start_rx failed: %d", err); return 0; }

	LOG_INF("PRX active - waiting for trigger packet (data[0] == 0x01)");

	/* ---- Main event loop ---- */
	while (1) {
		/*
		 * Switch to PTX:
		 * Triggered by receiving a packet whose first byte is 0x01.
		 * Flag is set in the RX ISR.
		 */
		if (atomic_cas(&do_switch_to_ptx, 1, 0)) {
			LOG_INF("Switching PRX -> PTX");
			err = enter_ptx();
			if (err) {
				/* If PTX setup failed, go straight back to PRX */
				LOG_ERR("PTX setup failed, returning to PRX");
				enter_prx();
			}
			/* do_switch_to_prx will be set by the TX event handler
			 * once the single packet is sent (success or failure) */
		}

		/*
		 * Retry PTX with backoff:
		 * Triggered by TX_FAILED. Params already updated in the ISR.
		 * Re-initialize PTX with the new (backed-off) config and
		 * re-queue the same payload.
		 */
		if (atomic_cas(&do_retry_ptx, 1, 0)) {
			/* Safe to call sys_rand32_get() here — main thread, not ISR */
			ptx_retransmit_delay += (uint16_t)(1000 + sys_rand32_get() % 501); // Ring 3
			LOG_INF("Retrying PTX with backoff config "
				"(delay=%u count=%u pwr=%d)",
				ptx_retransmit_delay, ptx_retransmit_count,
				ptx_tx_output_power);
			err = enter_ptx();
			if (err) {
				LOG_ERR("PTX retry failed (%d), returning to PRX", err);
				enter_prx();
			}
		}

		/*
		 * Switch back to PRX:
		 * Triggered by TX_SUCCESS event handler.
		 */
		if (atomic_cas(&do_switch_to_prx, 1, 0)) {
			LOG_INF("Switching PTX -> PRX");
			err = enter_prx();
			if (err) {
				LOG_ERR("PRX setup failed: %d", err);
				return 0;
			}
			LOG_INF("PRX active - waiting for next trigger packet");
		}

		k_msleep(1); /* short poll interval */
	}

	return 0;
}
```
